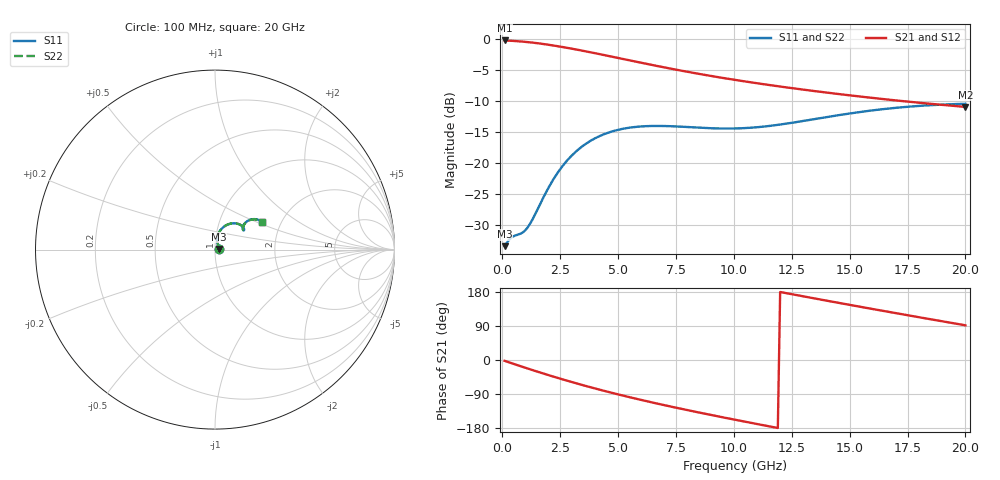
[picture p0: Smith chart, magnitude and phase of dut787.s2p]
! Touchstone file exported from HFSS 2024.1.0
!  File:  C:/UserFiles/LocalFiles/RDL_TSV_Batchsim/temp_RDL_TSV_787_1779907006.aedt
!  Generated:  02:54:41 AM May 28, 2026
!  Design:  RDL_TSV
!  Project:  temp_RDL_TSV_787_1779907006
!  Setup:  Setup1
!  Solution:  Sweep
! Variables:
!  dtsv = 6.51um
!  hbump = 3um
!  htsv = 79.98um
!  ldown = 636.13um
!  lrdl = 542.82um
!  p = 40
!  p1 = 46.4um
!  rhole = 10um
!  subl = 4079.67um
!  t = 450um
!  tdown = 3.81um
!  trdl = 2.27um
!  viad = 10um
!  wdown = 28.03um
!  wrdl = 25.58um
!  xbump = 18um
# GHz S MA R 50.000000
! Terminal data exported
! Port[1] = TM1_1_T1
! Port[2] = TM1_4_T1
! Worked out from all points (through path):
!   200 points, 100 MHz to 20 GHz, reference 50 ohm
!   highest |S21| = -0.19 dB at 100 MHz (marker M1); lowest = -10.9 dB at 20 GHz (marker M2)
!   group delay of S21, straight-line fit = 35.7 ps
!   lowest |S11| = -33.3 dB at 100 MHz (marker M3), VSWR 1.04, Z = 52.2 + j0.348 ohm
!   |S11| at or under -10 dB: start of sweep to end of sweep
!   |S22| runs from -33.3 to -10.4 dB; largest |S21 - S12| = 1.1e-14
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0.1  0.02154 8.9  0.9784 -2.2  0.9784 -2.2  0.02154 8.9
! Gamma 0 0 0 0
! Port Impedance 50 0 50 0
0.4  0.02536 22.9  0.9721 -8.5  0.9721 -8.5  0.02536 22.9
0.9  0.02792 44.0  0.957 -18.6  0.957 -18.6  0.02791 44.0
1.1  0.03059 54.7  0.9492 -22.6  0.9492 -22.6  0.03058 54.8
1.8  0.05431 77.1  0.9149 -36.2  0.9149 -36.2  0.0543 77.1
2.2  0.07409 79.0  0.8916 -43.7  0.8916 -43.7  0.07409 79.0
2.6  0.09512 77.2  0.8665 -51.0  0.8665 -51.0  0.09515 77.2
3  0.1157 73.6  0.8403 -58.1  0.8403 -58.1  0.1158 73.6
3.5  0.1393 68.0  0.8068 -66.7  0.8068 -66.7  0.1394 68.1
4.3  0.1691 58.8  0.7529 -79.9  0.7529 -79.9  0.1693 58.9
5.2  0.1899 49.5  0.6948 -93.8  0.6948 -93.8  0.1903 49.6
6  0.1986 42.9  0.6469 -105.4  0.6469 -105.4  0.1991 42.9
6.8  0.2004 38.0  0.6035 -116.5  0.6035 -116.5  0.201 38.0
7.6  0.1981 35.0  0.5646 -127.1  0.5646 -127.1  0.1988 34.9
8.4  0.1944 33.7  0.5301 -137.4  0.5301 -137.4  0.1951 33.6
10.1  0.1913 35.6  0.4692 -158.2  0.4692 -158.2  0.1919 35.4
11.6  0.201 39.2  0.4263 -175.9  0.4263 -175.9  0.2014 38.9
13.4  0.2261 41.5  0.3843 163.4  0.3843 163.4  0.2261 41.2
15  0.2524 40.7  0.3535 145.5  0.3535 145.5  0.2521 40.4
16.7  0.2769 37.9  0.326 126.8  0.326 126.8  0.2764 37.6
18.3  0.2931 34.4  0.3044 109.6  0.3044 109.6  0.2923 34.1
20  0.3021 30.8  0.2854 91.5  0.2854 91.5  0.3013 30.5
